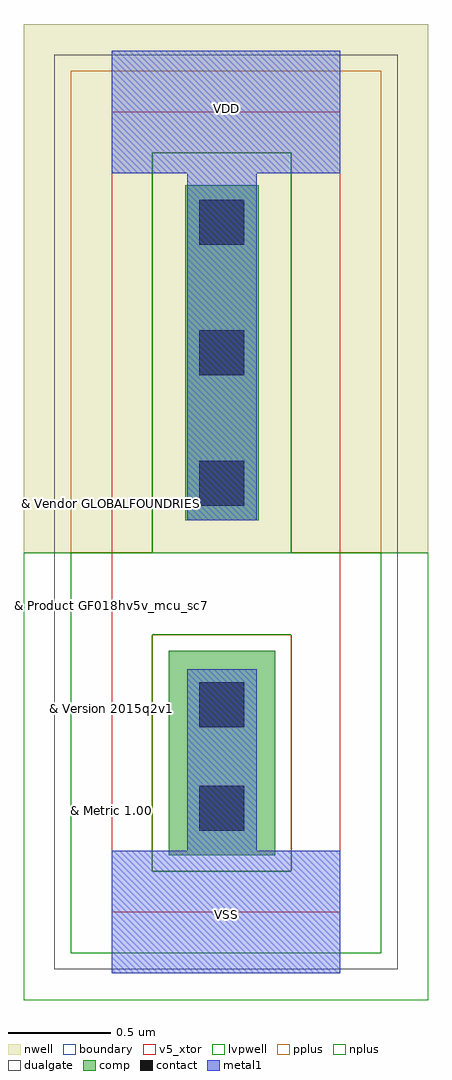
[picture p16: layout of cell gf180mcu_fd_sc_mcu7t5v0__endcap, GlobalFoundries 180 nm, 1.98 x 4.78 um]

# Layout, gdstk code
import gdstk
lib = gdstk.Library(unit=1e-6, precision=1e-09)
def R(c, l, rs):  # rectangles x0, y0, x1, y1
    for r in rs: c.add(gdstk.rectangle(r[:2], r[2:], *l))
def A(c, l, x, y, w, h, nx, ny, dx, dy):  # array of equal rectangles
    R(c, l, [(x+i*dx, y+j*dy, x+i*dx+w, y+j*dy+h) for i in range(nx) for j in range(ny)])
def P(c, l, *ps):  # polygons
    for p in ps: c.add(gdstk.Polygon(p, *l))
boundary = (0, 0)
nwell = (21, 0)
comp = (22, 0)
pplus = (31, 0)
nplus = (32, 0)
contact = (33, 0)
metal1 = (34, 0)
dualgate = (55, 0)
v5_xtor = (112, 1)
lvpwell = (204, 0)

gf180mcu_fd_sc_mcu7t5v0_ = lib.new_cell('gf180mcu_fd_sc_mcu7t5v0__endcap')
R(gf180mcu_fd_sc_mcu7t5v0_, boundary, [(0,0,1.12,3.92)])
R(gf180mcu_fd_sc_mcu7t5v0_, nwell, [(-0.43,1.76,1.55,4.35)])
R(gf180mcu_fd_sc_mcu7t5v0_, comp, [(0.28,0.28,0.8,1.28), (0.36,1.92,0.72,3.56)])
R(gf180mcu_fd_sc_mcu7t5v0_, pplus, [(0.2,0.2,0.88,1.36)])
P(gf180mcu_fd_sc_mcu7t5v0_, pplus, [(-0.2,1.76),(-0.2,4.12),(1.32,4.12),(1.32,1.76),(0.88,1.76),(0.88,3.72),(0.2,3.72),(0.2,1.76)])
P(gf180mcu_fd_sc_mcu7t5v0_, nplus, [(-0.2,-0.2),(-0.2,1.76),(0.2,1.76),(0.2,3.72),(0.88,3.72),(0.88,1.36),(0.2,1.36),(0.2,0.2),(0.88,0.2),(0.88,3.72),(0.88,1.76),(1.32,1.76),(1.32,-0.2)])
A(gf180mcu_fd_sc_mcu7t5v0_, contact, 0.43, 1.99, 0.22, 0.22, 1, 3, 0, 0.64)
R(gf180mcu_fd_sc_mcu7t5v0_, contact, [(0.43,0.4,0.65,0.62), (0.43,0.905,0.65,1.125)])
P(gf180mcu_fd_sc_mcu7t5v0_, metal1, [(0,-0.3),(0,0.3),(0.37,0.3),(0.37,1.19),(0.71,1.19),(0.71,0.3),(1.12,0.3),(1.12,-0.3)],
  [(0.37,1.92),(0.37,3.62),(0,3.62),(0,4.22),(1.12,4.22),(1.12,3.62),(0.71,3.62),(0.71,1.92)])
R(gf180mcu_fd_sc_mcu7t5v0_, dualgate, [(-0.28,-0.28,1.4,4.2)])
R(gf180mcu_fd_sc_mcu7t5v0_, v5_xtor, [(0,0,1.12,3.92)])
R(gf180mcu_fd_sc_mcu7t5v0_, lvpwell, [(-0.43,-0.43,1.55,1.76)])
gf180mcu_fd_sc_mcu7t5v0_.add(gdstk.Label('VSS', (0.56,-0.01), layer=34, texttype=10))
gf180mcu_fd_sc_mcu7t5v0_.add(gdstk.Label('VDD', (0.56,3.935), layer=34, texttype=10))
gf180mcu_fd_sc_mcu7t5v0_.add(gdstk.Label('& Vendor GLOBALFOUNDRIES', (0,2), layer=63, texttype=63))
gf180mcu_fd_sc_mcu7t5v0_.add(gdstk.Label('& Product GF018hv5v_mcu_sc7', (0,1.5), layer=63, texttype=63))
gf180mcu_fd_sc_mcu7t5v0_.add(gdstk.Label('& Version 2015q2v1', (0,1), layer=63, texttype=63))
gf180mcu_fd_sc_mcu7t5v0_.add(gdstk.Label('& Metric 1.00', (0,0.5), layer=63, texttype=63))

lib.write_gds('gf180mcu_fd_sc_mcu7t5v0__endcap.gds')
